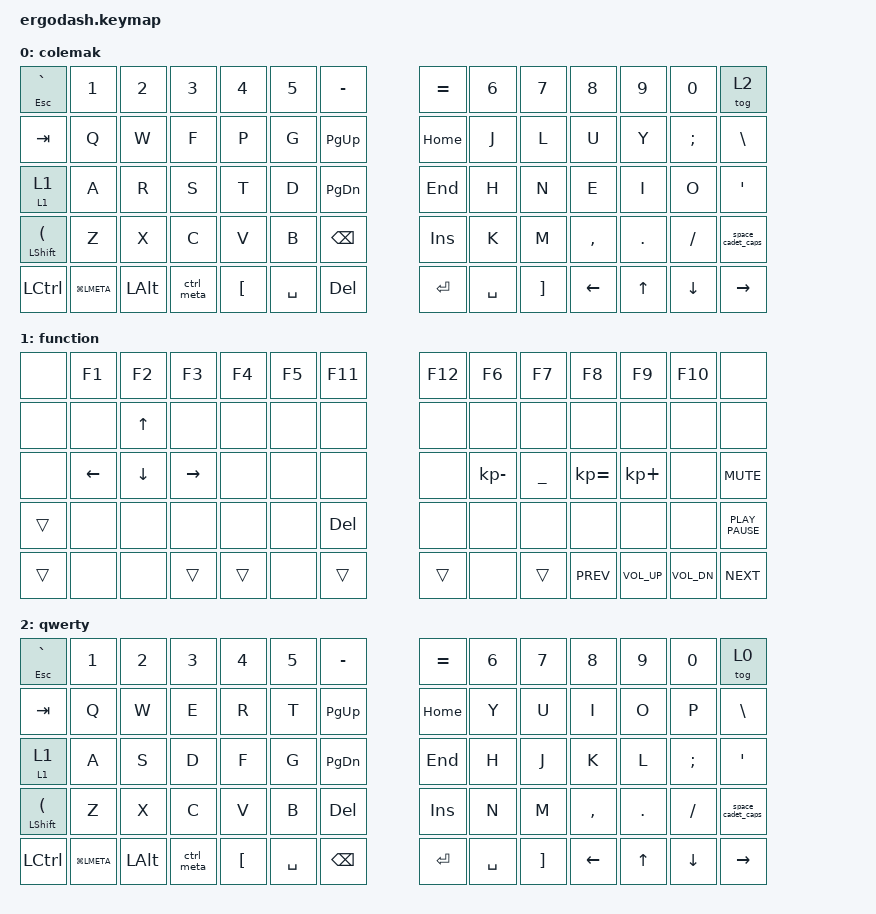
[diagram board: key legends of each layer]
/*
 * Copyright (c) 2020 The ZMK Contributors
 *
 * SPDX-License-Identifier: MIT
 */

#include <behaviors.dtsi>
#include <dt-bindings/zmk/keys.h>
#include <dt-bindings/zmk/keys.h>

#define DEFAULT 0
#define LOWER   1
#define RAISE   2

/ {
    behaviors {
        ctrl_z: ctrl_z {
            compatible = "zmk,behavior-tap-dance";
            label = "CTRL_Z";
            #binding-cells = <0>;
            bindings = <&kp Z>, <&none>, <&kp LC(Z)>;
        };

        ctrl_x: ctrl_x {
            compatible = "zmk,behavior-tap-dance";
            label = "CTRL_X";
            #binding-cells = <0>;
            bindings = <&kp X>, <&none>, <&kp LC(X)>;
        };

        ctrl_meta: ctrl_meta {
            compatible = "zmk,behavior-tap-dance";
            label = "CTRL_META";
            #binding-cells = <0>;
            bindings = <&kp LC(S)>, <&kp LC(C)>;
        };

        tt: tt {
            compatible = "zmk,behavior-hold-tap";
            label = "TT";
            bindings = <&mo>, <&tog>;

            #binding-cells = <2>;
            tapping-term-ms = <200>;
        };

        space_cadet_caps: space_cadet_caps {
            compatible = "zmk,behavior-tap-dance";
            label = "SPACE_CADET_CAPS";
            #binding-cells = <0>;
            bindings = <&mt RSHIFT RIGHT_PARENTHESIS>, <&kt CAPSLOCK>;
        };
    };

    keymap {
        compatible = "zmk,keymap";

        colemak {
            /* QWERTY
 * .----------------------------------------------------------------------------------------------------------------------.
 * |  `   |   1  |   2  |   3  |   4  |   5  |  [   |                    |  ]   |   6  |   7  |   8  |   9  |   0  | PScr |
 * |------+------+------+------+------+------+------+--------------------+------+------+------+------+------+------+------|
 * | ESC  |   Q  |   W  |   E  |   R  |   T  |  -   |                    |  =   |   Y  |   U  |   I  |   O  |   P  |  \   |
 * |------+------+------+------+------+------+------+--------------------+------+------+------+------+------+------+------|
 * | Tab  |   A  |   S  |   D  |   F  |   G  | Del  |                    | Bksp |   H  |   J  |   K  |   L  |   ;  |  '   |
 * |------+------+------+------+------+------+---------------------------+------+------+------+------+------+------+------|
 * | Shift|   Z  |   X  |   C  |   V  |   B  | End  |                    | Home |   N  |   M  |   ,  |   .  |   /  | Shift|
 * |-------------+------+------+------+------+------+------+------+------+------+------+------+------+------+-------------|
 * | Ctrl |      | PGDN | Win  |||||||| Alt  | Space| Lower|||||||| Raise| Enter| RAlt ||||||||      | PGUP | Ins  | RCtrl|
 * .----------------------------------------------------------------------------------------------------------------------.
 */

            bindings = <
&mt ESC GRAVE               &kp N1         &kp N2        &kp N3      &kp N4            &kp N5  &kp MINUS                            &kp EQUAL  &kp N6  &kp N7             &kp N8     &kp N9   &kp N0         &tog 2
&kp TAB                     &kp Q          &kp W         &kp F       &kp P             &kp G   &kp PG_UP                            &kp HOME   &kp J   &kp L              &kp U      &kp Y    &kp SEMICOLON  &kp BSLH
&tt 1 1                     &kp A          &kp R         &kp S       &kp T             &kp D   &kp PG_DN                            &kp END    &kp H   &kp N              &kp E      &kp I    &kp O          &kp SQT
&mt LSHFT LEFT_PARENTHESIS  &kp Z          &kp X         &kp C       &kp V             &kp B              &kp BACKSPACE  &kp INS               &kp K   &kp M              &kp COMMA  &kp DOT  &kp SLASH      &space_cadet_caps
&kp LCTRL                   &kp LG(LMETA)  &kp LEFT_ALT  &ctrl_meta  &kp LEFT_BRACKET          &kp SPACE  &kp DEL        &kp ENTER  &kp SPACE          &kp RIGHT_BRACKET  &kp LEFT   &kp UP   &kp DOWN       &kp RIGHT
            >;
        };

        function {
            /* .----------------------------------------------------------------------------------------------------------------------.
 * |  F11 |  F1  |  F2  |  F3  |  F4  |  F5  |      |                    |      |  F6  |  F7  |  F8  |  F9  |  F10 |  F12 |
 * |------+------+------+------+------+------+------+--------------------+------+------+------+------+------+------+------|
 * |      |      |      |      |      |      |      |                    |      |      |      |      |      |      |      |
 * |------+------+------+------+------+------+------+--------------------+------+------+------+------+------+------+------|
 * |      |      |      |      |      |      |      |                    |      |      |      |      |      |      |      |
 * |------+------+------+------+------+------+---------------------------+------+------+------+------+------+------+------|
 * | Shift| Boot | Reset|      |      |      |      |                    |      |      |      |      |      |      | Shift|
 * |-------------+------+------+------+------+------+------+------+------+------+------+------+------+------+-------------|
 * | Ctlr |      |      |  Win |||||||| Alt  |      | Lower|||||||| Raise|      | RAlt ||||||||      |      |      | RCtrl|
 * .----------------------------------------------------------------------------------------------------------------------.
 */ /* FIXME boot and reset are not yet locale aware */
            bindings = <
&none   &kp F1    &kp F2    &kp F3     &kp F4  &kp F5  &kp F11                   &kp F12  &kp F6        &kp F7     &kp F8        &kp F9        &kp F10       &none
&none   &none     &kp UP    &none      &none   &none   &none                     &none    &none         &none      &none         &none         &none         &none
&none   &kp LEFT  &kp DOWN  &kp RIGHT  &none   &none   &none                     &none    &kp KP_MINUS  &kp UNDER  &kp KP_EQUAL  &kp KP_PLUS   &none         &kp K_MUTE
&trans  &none     &none     &none      &none   &none            &kp DEL  &none            &none         &none      &none         &none         &none         &kp K_PLAY_PAUSE
&trans  &none     &none     &trans     &trans          &none    &trans   &trans  &none                  &trans     &kp K_PREV    &kp K_VOL_UP  &kp K_VOL_DN  &kp K_NEXT
            >;
        };

        qwerty {
            bindings = <
&mt ESC GRAVE               &kp N1         &kp N2        &kp N3      &kp N4            &kp N5  &kp MINUS                            &kp EQUAL  &kp N6  &kp N7             &kp N8     &kp N9   &kp N0     &tog 0
&kp TAB                     &kp Q          &kp W         &kp E       &kp R             &kp T   &kp PG_UP                            &kp HOME   &kp Y   &kp U              &kp I      &kp O    &kp P      &kp BSLH
&tt 1 1                     &kp A          &kp S         &kp D       &kp F             &kp G   &kp PG_DN                            &kp END    &kp H   &kp J              &kp K      &kp L    &kp SEMI   &kp SQT
&mt LSHFT LEFT_PARENTHESIS  &kp Z          &kp X         &kp C       &kp V             &kp B              &kp DEL        &kp INS               &kp N   &kp M              &kp COMMA  &kp DOT  &kp SLASH  &space_cadet_caps
&kp LCTRL                   &kp LG(LMETA)  &kp LEFT_ALT  &ctrl_meta  &kp LEFT_BRACKET          &kp SPACE  &kp BACKSPACE  &kp ENTER  &kp SPACE          &kp RIGHT_BRACKET  &kp LEFT   &kp UP   &kp DOWN   &kp RIGHT
            >;
        };
    };
};
